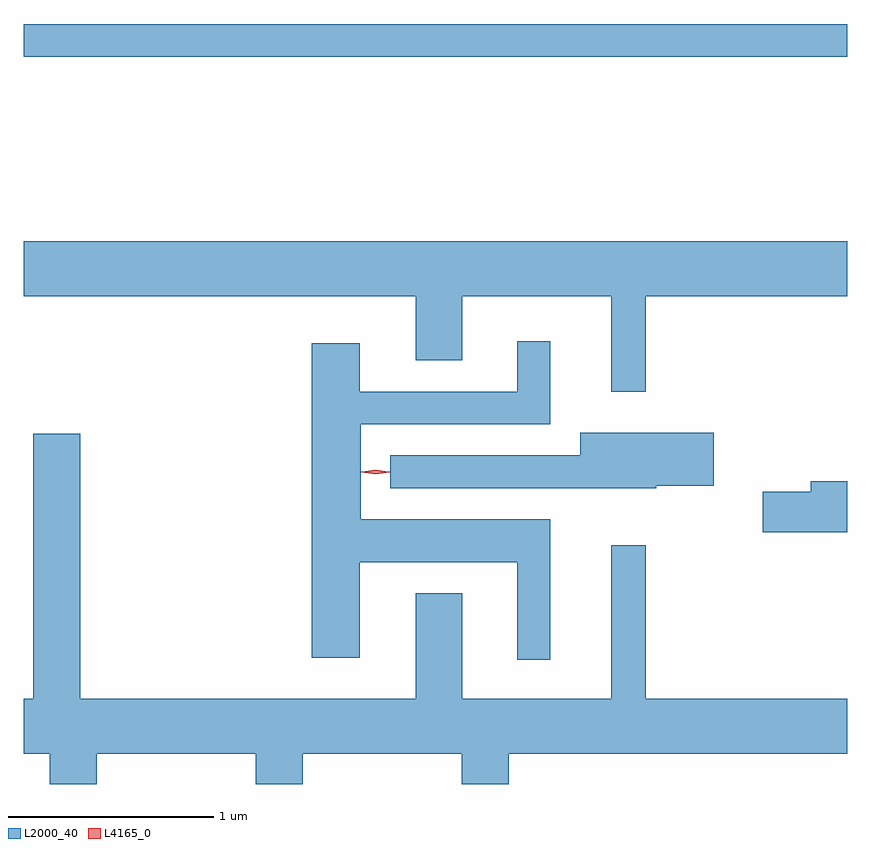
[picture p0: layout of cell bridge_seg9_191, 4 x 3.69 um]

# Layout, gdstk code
import gdstk
lib = gdstk.Library(unit=1e-6, precision=1e-09)
def R(c, l, rs):  # rectangles x0, y0, x1, y1
    for r in rs: c.add(gdstk.rectangle(r[:2], r[2:], *l))
def P(c, l, *ps):  # polygons
    for p in ps: c.add(gdstk.Polygon(p, *l))
L2000_40 = (2000, 40)
L4165_0 = (4165, 0)

bridge_seg9_191 = lib.new_cell('bridge_seg9_191')
R(bridge_seg9_191, L2000_40, [(1223.258,2015.181,1227.258,2015.339)])
P(bridge_seg9_191, L2000_40, [(1226.279,2014.016),(1227.258,2014.016),(1227.258,2014.284),(1223.258,2014.284),(1223.258,2014.016),(1225.161,2014.016),(1225.161,2013.706),(1225.389,2013.706),(1225.389,2014.016),(1226.111,2014.016),(1226.111,2013.553),(1226.279,2013.553)],
  [(1225.814,2012.934),(1224.894,2012.934),(1224.894,2013.396),(1225.814,2013.396),(1225.814,2013.798),(1225.656,2013.798),(1225.656,2013.554),(1224.889,2013.554),(1224.889,2013.789),(1224.656,2013.789),(1224.656,2012.261),(1224.889,2012.261),(1224.889,2012.726),(1225.656,2012.726),(1225.656,2012.253),(1225.814,2012.253)],
  [(1226.33,2013.096),(1226.609,2013.096),(1226.609,2013.354),(1225.961,2013.354),(1225.961,2013.244),(1225.038,2013.244),(1225.038,2013.086),(1226.33,2013.086)],
  [(1225.614,2011.796),(1227.258,2011.796),(1227.258,2012.064),(1226.279,2012.064),(1226.279,2012.808),(1226.111,2012.808),(1226.111,2012.064),(1225.389,2012.064),(1225.389,2012.574),(1225.161,2012.574),(1225.161,2012.064),(1223.534,2012.064),(1223.534,2013.349),(1223.306,2013.349),(1223.306,2012.064),(1223.258,2012.064),(1223.258,2011.796),(1223.386,2011.796),(1223.386,2011.649),(1223.614,2011.649),(1223.614,2011.796),(1224.386,2011.796),(1224.386,2011.649),(1224.614,2011.649),(1224.614,2011.796),(1225.386,2011.796),(1225.386,2011.649),(1225.614,2011.649)],
  [(1227.258,2013.119),(1227.081,2013.119),(1227.081,2013.069),(1226.846,2013.069),(1226.846,2012.871),(1227.258,2012.871)])
P(bridge_seg9_191, L4165_0, [(1224.967,2013.153),(1224.898,2013.162),(1224.898,2013.163),(1224.898,2013.164),(1224.967,2013.173),(1225.036,2013.164),(1225.036,2013.163),(1225.036,2013.162)],
  [(1224.967,2013.154),(1224.901,2013.164),(1224.9,2013.164),(1224.901,2013.165),(1224.967,2013.174),(1225.032,2013.165),(1225.033,2013.164),(1225.032,2013.164)])

lib.write_gds('bridge_seg9_191.gds')
